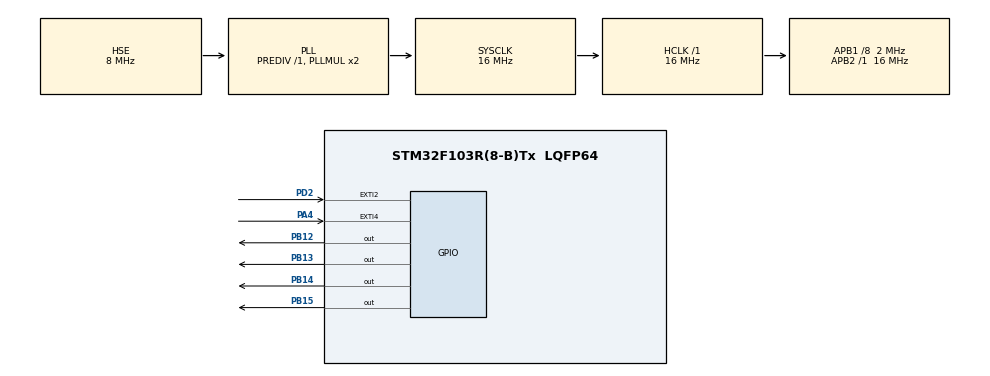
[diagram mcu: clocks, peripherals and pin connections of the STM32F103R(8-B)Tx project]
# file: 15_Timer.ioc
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Mcu.Family=STM32F1
Mcu.Name=STM32F103R(8-B)Tx
Mcu.Package=LQFP64
NVIC.EXTI2_IRQn=true\:0\:0\:false\:false\:true\:true\:true\:true
NVIC.EXTI4_IRQn=true\:0\:0\:false\:false\:true\:true\:true\:true
NVIC.PriorityGroup=NVIC_PRIORITYGROUP_4
NVIC.TIM2_IRQn=true\:0\:0\:false\:false\:true\:true\:true\:true
PA4.GPIO_ModeDefaultEXTI=GPIO_MODE_IT_FALLING
PA4.Signal=GPXTI4
PB12.Signal=GPIO_Output
PB13.Signal=GPIO_Output
PB14.Signal=GPIO_Output
PB15.Signal=GPIO_Output
PC14-OSC32_IN.Mode=LSE-External-Oscillator
PC14-OSC32_IN.Signal=RCC_OSC32_IN
PC15-OSC32_OUT.Mode=LSE-External-Oscillator
PC15-OSC32_OUT.Signal=RCC_OSC32_OUT
PD0-OSC_IN.Mode=HSE-External-Clock-Source
PD0-OSC_IN.Signal=RCC_OSC_IN
PD1-OSC_OUT.Mode=HSE-External-Clock-Source
PD1-OSC_OUT.Signal=RCC_OSC_OUT
PD2.GPIO_ModeDefaultEXTI=GPIO_MODE_IT_FALLING
PD2.Signal=GPXTI2
ProjectManager.HeapSize=0x200
ProjectManager.StackSize=0x400
ProjectManager.TargetToolchain=STM32CubeIDE
RCC.AHBFreq_Value=16000000
RCC.APB1CLKDivider=RCC_HCLK_DIV8
RCC.APB1Freq_Value=2000000
RCC.APB1TimFreq_Value=4000000
RCC.APB2Freq_Value=16000000
RCC.APB2TimFreq_Value=16000000
RCC.HCLKFreq_Value=16000000
RCC.PLLSourceVirtual=RCC_PLLSOURCE_HSE
RCC.SYSCLKFreq_VALUE=16000000
RCC.SYSCLKSource=RCC_SYSCLKSOURCE_PLLCLK
RCC.USBFreq_Value=16000000
TIM2.AutoReloadPreload=TIM_AUTORELOAD_PRELOAD_ENABLE
TIM2.Period=1000-1
TIM2.Prescaler=4000-1
VP_TIM2_VS_ClockSourceINT.Mode=Internal
board=custom

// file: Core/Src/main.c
/* USER CODE BEGIN Header */
/**
  ******************************************************************************
  * @file           : main.c
  * @brief          : Main program body
  ******************************************************************************
  * @attention
  *
  * Copyright (c) 2023 STMicroelectronics.
  * All rights reserved.
  *
  * This software is licensed under terms that can be found in the LICENSE file
  * in the root directory of this software component.
  * If no LICENSE file comes with this software, it is provided AS-IS.
  *
  ******************************************************************************
  */
/* USER CODE END Header */
#include "main.h"

TIM_HandleTypeDef htim2;

/* USER CODE BEGIN PV */
int count = 0;
int count1 = 0;
int count2 = 0;

/* USER CODE END PV */

void SystemClock_Config(void);
static void MX_GPIO_Init(void);
static void MX_TIM2_Init(void);

int main(void)
{

  /* MCU Configuration--------------------------------------------------------*/

  /* Reset of all peripherals, Initializes the Flash interface and the Systick. */
  HAL_Init();

  /* Configure the system clock */
  SystemClock_Config();

  /* Initialize all configured peripherals */
  MX_GPIO_Init();
  MX_TIM2_Init();
  /* USER CODE BEGIN 2 */
  HAL_TIM_Base_Start_IT(&htim2);
  HAL_GPIO_WritePin(GPIOB, GPIO_PIN_15, 0);

  /* USER CODE END 2 */

  /* Infinite loop */
  while (1)
  {

  }
}

void SystemClock_Config(void)
{
  RCC_OscInitTypeDef RCC_OscInitStruct = {0};
  RCC_ClkInitTypeDef RCC_ClkInitStruct = {0};

  /** Initializes the RCC Oscillators according to the specified parameters
  * in the RCC_OscInitTypeDef structure.
  */
  RCC_OscInitStruct.OscillatorType = RCC_OSCILLATORTYPE_HSE;
  RCC_OscInitStruct.HSEState = RCC_HSE_BYPASS;
  RCC_OscInitStruct.HSEPredivValue = RCC_HSE_PREDIV_DIV1;
  RCC_OscInitStruct.HSIState = RCC_HSI_ON;
  RCC_OscInitStruct.PLL.PLLState = RCC_PLL_ON;
  RCC_OscInitStruct.PLL.PLLSource = RCC_PLLSOURCE_HSE;
  RCC_OscInitStruct.PLL.PLLMUL = RCC_PLL_MUL2;
  if (HAL_RCC_OscConfig(&RCC_OscInitStruct) != HAL_OK)
  {
    Error_Handler();
  }

  /** Initializes the CPU, AHB and APB buses clocks
  */
  RCC_ClkInitStruct.ClockType = RCC_CLOCKTYPE_HCLK|RCC_CLOCKTYPE_SYSCLK
                              |RCC_CLOCKTYPE_PCLK1|RCC_CLOCKTYPE_PCLK2;
  RCC_ClkInitStruct.SYSCLKSource = RCC_SYSCLKSOURCE_PLLCLK;
  RCC_ClkInitStruct.AHBCLKDivider = RCC_SYSCLK_DIV1;
  RCC_ClkInitStruct.APB1CLKDivider = RCC_HCLK_DIV8;
  RCC_ClkInitStruct.APB2CLKDivider = RCC_HCLK_DIV1;

  if (HAL_RCC_ClockConfig(&RCC_ClkInitStruct, FLASH_LATENCY_0) != HAL_OK)
  {
    Error_Handler();
  }
}

static void MX_TIM2_Init(void)
{

  TIM_ClockConfigTypeDef sClockSourceConfig = {0};
  TIM_MasterConfigTypeDef sMasterConfig = {0};

  htim2.Instance = TIM2;
  htim2.Init.Prescaler = 4000-1;
  htim2.Init.CounterMode = TIM_COUNTERMODE_UP;
  htim2.Init.Period = 1000-1;
  htim2.Init.ClockDivision = TIM_CLOCKDIVISION_DIV1;
  htim2.Init.AutoReloadPreload = TIM_AUTORELOAD_PRELOAD_ENABLE;
  if (HAL_TIM_Base_Init(&htim2) != HAL_OK)
  {
    Error_Handler();
  }
  sClockSourceConfig.ClockSource = TIM_CLOCKSOURCE_INTERNAL;
  if (HAL_TIM_ConfigClockSource(&htim2, &sClockSourceConfig) != HAL_OK)
  {
    Error_Handler();
  }
  sMasterConfig.MasterOutputTrigger = TIM_TRGO_RESET;
  sMasterConfig.MasterSlaveMode = TIM_MASTERSLAVEMODE_DISABLE;
  if (HAL_TIMEx_MasterConfigSynchronization(&htim2, &sMasterConfig) != HAL_OK)
  {
    Error_Handler();
  }

}

static void MX_GPIO_Init(void)
{
  GPIO_InitTypeDef GPIO_InitStruct = {0};

  /* GPIO Ports Clock Enable */
  __HAL_RCC_GPIOC_CLK_ENABLE();
  __HAL_RCC_GPIOD_CLK_ENABLE();
  __HAL_RCC_GPIOA_CLK_ENABLE();
  __HAL_RCC_GPIOB_CLK_ENABLE();

  /*Configure GPIO pin Output Level */
  HAL_GPIO_WritePin(GPIOB, GPIO_PIN_12|GPIO_PIN_13|GPIO_PIN_14|GPIO_PIN_15, GPIO_PIN_RESET);

  /*Configure GPIO pin : PA4 */
  GPIO_InitStruct.Pin = GPIO_PIN_4;
  GPIO_InitStruct.Mode = GPIO_MODE_IT_FALLING;
  GPIO_InitStruct.Pull = GPIO_NOPULL;
  HAL_GPIO_Init(GPIOA, &GPIO_InitStruct);

  /*Configure GPIO pins : PB12 PB13 PB14 PB15 */
  GPIO_InitStruct.Pin = GPIO_PIN_12|GPIO_PIN_13|GPIO_PIN_14|GPIO_PIN_15;
  GPIO_InitStruct.Mode = GPIO_MODE_OUTPUT_PP;
  GPIO_InitStruct.Pull = GPIO_NOPULL;
  GPIO_InitStruct.Speed = GPIO_SPEED_FREQ_LOW;
  HAL_GPIO_Init(GPIOB, &GPIO_InitStruct);

  /*Configure GPIO pin : PD2 */
  GPIO_InitStruct.Pin = GPIO_PIN_2;
  GPIO_InitStruct.Mode = GPIO_MODE_IT_FALLING;
  GPIO_InitStruct.Pull = GPIO_NOPULL;
  HAL_GPIO_Init(GPIOD, &GPIO_InitStruct);

  /* EXTI interrupt init*/
  HAL_NVIC_SetPriority(EXTI2_IRQn, 0, 0);
  HAL_NVIC_EnableIRQ(EXTI2_IRQn);

  HAL_NVIC_SetPriority(EXTI4_IRQn, 0, 0);
  HAL_NVIC_EnableIRQ(EXTI4_IRQn);

}

/* USER CODE BEGIN 4 */
void HAL_TIM_PeriodElapsedCallback(TIM_HandleTypeDef *htim){
#if 1
	if(htim == &htim2){
		HAL_GPIO_TogglePin(GPIOB, GPIO_PIN_15);
	}
#endif

#if 0
	if(count == 0){
		HAL_GPIO_WritePin(GPIOB, GPIO_PIN_15, GPIO_PIN_SET);
	} else if(count == 1){
		HAL_GPIO_WritePin(GPIOB, GPIO_PIN_15, GPIO_PIN_RESET);
	}
	if(++count == 2) count = 0;
#endif

#if 0
	if(count1 == 0){
		HAL_GPIO_WritePin(GPIOB, GPIO_PIN_15, GPIO_PIN_SET);
	} else if(count1 == 500){
		HAL_GPIO_WritePin(GPIOB, GPIO_PIN_15, GPIO_PIN_RESET);
	} else if(count1 == 1000){
		HAL_GPIO_WritePin(GPIOB, GPIO_PIN_15, GPIO_PIN_SET);
	} else if(count1 == 1500){
		HAL_GPIO_WritePin(GPIOB, GPIO_PIN_15, GPIO_PIN_RESET);
	} else if(count1 == 2000){
		HAL_GPIO_WritePin(GPIOB, GPIO_PIN_15, GPIO_PIN_SET);
	} else if(count1 == 2500){
		HAL_GPIO_WritePin(GPIOB, GPIO_PIN_15, GPIO_PIN_RESET);
	}
	if(++count1 == 3000) count1 = 0;

	if(count2 == 0){
		HAL_GPIO_WritePin(GPIOB, GPIO_PIN_12, GPIO_PIN_SET);
	} else if(count2 == 1500){
		HAL_GPIO_WritePin(GPIOB, GPIO_PIN_12, GPIO_PIN_RESET);
	}
	if(++count2 == 3000) count2 = 0;
#endif

}

/* USER CODE END 4 */

void Error_Handler(void)
{
  __disable_irq();
  while (1)
  {
  }
}
